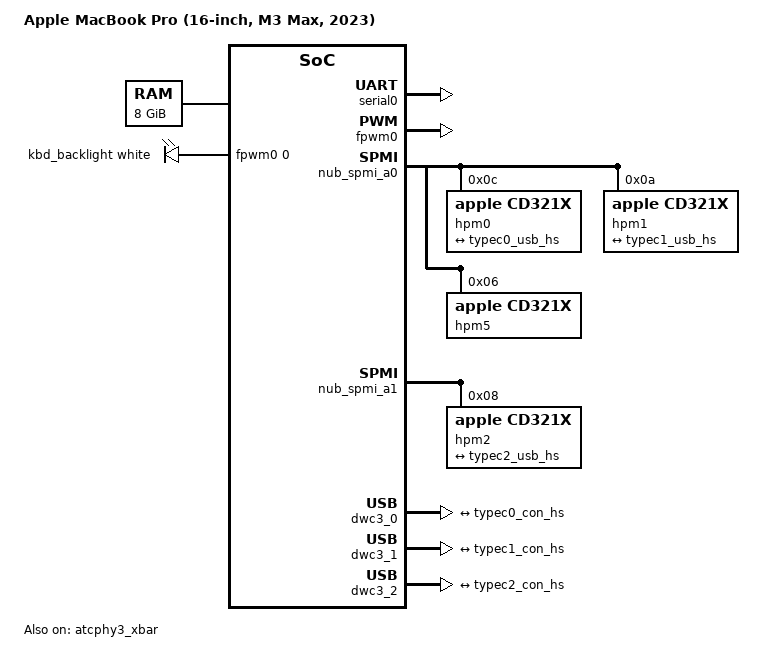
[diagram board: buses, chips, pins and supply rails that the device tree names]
// SPDX-License-Identifier: GPL-2.0+ OR MIT
/*
 * MacBook Pro (16-inch, M3 Max, 2023)
 *
 * target-type: J516c
 *
 * Copyright The Asahi Linux Contributors
 */

/dts-v1/;

#include <dt-bindings/leds/common.h>

#include "t6031.dtsi"

/ {
	compatible = "apple,j516c", "apple,t6031", "apple,arm-platform";
	model = "Apple MacBook Pro (16-inch, M3 Max, 2023)";

	aliases {
		atcphy0 = &atcphy0;
		atcphy1 = &atcphy1;
		atcphy2 = &atcphy2;
		atcphy3 = &atcphy3;
		serial0 = &serial0;
	};

	chosen {
		#address-cells = <2>;
		#size-cells = <2>;
		ranges;

		stdout-path = "serial0";

		framebuffer0: framebuffer@0 {
			compatible = "apple,simple-framebuffer", "simple-framebuffer";
			reg = <0 0 0 0>; /* To be filled by loader */
			/* Format properties will be added by loader */
			status = "disabled";
			power-domains = <&ps_disp_fe>;
			//panel = &panel; FIXME
		};
	};

	reserved-memory {
		#address-cells = <2>;
		#size-cells = <2>;
		ranges;
		/* To be filled by loader */
	};

	memory@10000000000 {
		device_type = "memory";
		reg = <0x100 0 0x2 0>; /* To be filled by loader */
	};

	led-controller {
		compatible = "pwm-leds";
		led-0 {
			pwms = <&fpwm0 0 40000>;
			label = "kbd_backlight";
			function = LED_FUNCTION_KBD_BACKLIGHT;
			color = <LED_COLOR_ID_WHITE>;
			max-brightness = <255>;
			default-state = "keep";
		};
	};
};

&serial0 {
	status = "okay";
};

&fpwm0 {
	status = "okay";
};

&atcphy3 {
	apple,mode-fixed-dp;
};

&atcphy3_xbar {
	status = "okay";
};

/* USB Type C */
&nub_spmi_a0 {
	hpm0: usb-pd@c {
		compatible = "apple,cd321x";
		reg = <0xc SPMI_USID>;
		interrupts = <11 IRQ_TYPE_EDGE_RISING>;
		interrupt-names = "irq";

		typec0: connector {
			compatible = "usb-c-connector";
			label = "USB-C Left Rear";
			power-role = "dual";
			data-role = "dual";

			ports {
				#address-cells = <1>;
				#size-cells = <0>;
				port@0 {
					reg = <0>;
					typec0_con_hs: endpoint {
						remote-endpoint = <&typec0_usb_hs>;
					};
				};
/*
				port@1 {
					reg = <1>;
					typec0_con_ss: endpoint {
						remote-endpoint = <&typec0_usb_ss>;
					};
				};
*/
			};
		};
	};

	hpm1: usb-pd@a {
		compatible = "apple,cd321x";
		reg = <0xa SPMI_USID>;
		interrupts = <37 IRQ_TYPE_EDGE_RISING>;
		interrupt-names = "irq";

		typec1: connector {
			compatible = "usb-c-connector";
			label = "USB-C Left Front";
			power-role = "dual";
			data-role = "dual";

			ports {
				#address-cells = <1>;
				#size-cells = <0>;
				port@0 {
					reg = <0>;
					typec1_con_hs: endpoint {
						remote-endpoint = <&typec1_usb_hs>;
					};
				};
/*
				port@1 {
					reg = <1>;
					typec1_con_ss: endpoint {
						remote-endpoint = <&typec1_usb_ss>;
					};
				};
*/
			};
		};
	};

	/* MagSafe port */
	hpm5: usb-pd@6 {
		compatible = "apple,cd321x";
		reg = <0x6 SPMI_USID>;
		interrupts = <89 IRQ_TYPE_EDGE_RISING>;
		interrupt-names = "irq";
	};
};

&nub_spmi_a1 {
	hpm2: usb-pd@8 {
		compatible = "apple,cd321x";
		reg = <0x8 SPMI_USID>;
		interrupts = <63 IRQ_TYPE_EDGE_RISING>;
		interrupt-names = "irq";

		typec2: connector {
			compatible = "usb-c-connector";
			label = "USB-C Right";
			power-role = "dual";
			data-role = "dual";

			ports {
				#address-cells = <1>;
				#size-cells = <0>;
				port@0 {
					reg = <0>;
					typec2_con_hs: endpoint {
						remote-endpoint = <&typec2_usb_hs>;
					};
				};
/*
				port@1 {
					reg = <1>;
					typec2_con_ss: endpoint {
						remote-endpoint = <&typec2_usb_ss>;
					};
				};
*/
			};
		};
	};
};

/* USB controllers */
&dwc3_0 {
	port {
		typec0_usb_hs: endpoint {
			remote-endpoint = <&typec0_con_hs>;
		};
	};
};

&dwc3_1 {
	port {
		typec1_usb_hs: endpoint {
			remote-endpoint = <&typec1_con_hs>;
		};
	};
};

&dwc3_2 {
	port {
		typec2_usb_hs: endpoint {
			remote-endpoint = <&typec2_con_hs>;
		};
	};
};

/* Type-C PHYs */
#if 0
&atcphy0 {
	port {
		typec0_usb_ss: endpoint {
			remote-endpoint = <&typec0_con_ss>;
		};
	};
};

&atcphy1 {
	port {
		typec1_usb_ss: endpoint {
			remote-endpoint = <&typec1_con_ss>;
		};
	};
};

&atcphy2 {
	port {
		typec2_usb_ss: endpoint {
			remote-endpoint = <&typec2_con_ss>;
		};
	};
};
#endif

// Disabled for now since t6030 doesn't include those nodes...
// enable once generalized to other SoCs that have USB on ATC3
#if 0
/* ATC3 is used for DisplayPort -> HDMI only */
&dwc3_3_dart_0 {
	status = "disabled";
};

&dwc3_3_dart_1 {
	status = "disabled";
};

&dwc3_3 {
	status = "disabled";
};
/* Delete unused dwc3_3 to prevent dt_disable_missing_devs() from disabling
 * atcphy3 via phandle references from a disablecd device.
 */
/delete-node/ &dwc3_3;
#endif

&ps_atc3_usb_aon {
	/delete-property/ apple,always-on;
};
